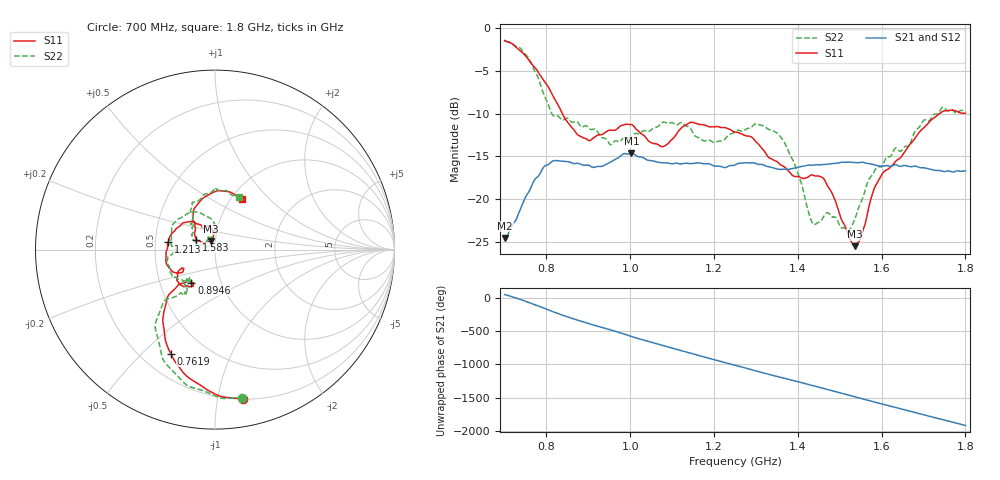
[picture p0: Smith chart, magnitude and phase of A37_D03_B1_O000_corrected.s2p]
! Created with skrf 1.9.0 (http://scikit-rf.org).
# Hz S RI R 50.0
!freq ReS11 ImS11 ReS21 ImS21 ReS12 ImS12 ReS22 ImS22
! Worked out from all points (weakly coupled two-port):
!   1601 points, 700 MHz to 1.8 GHz, reference 50 ohm
!   highest |S21| = -14.61 dB at 1.002 GHz (marker M1); lowest = -24.5 dB at 701.4 MHz (marker M2)
!   lowest |S11| = -25.5 dB at 1.536 GHz (marker M3), VSWR 1.11, Z = 47.5 + j4.57 ohm
!   |S11| at or under -10 dB: 838.1 MHz to 1.738 GHz (900 MHz wide, 69.9 % of centre)
!   |S22| runs from -23.7 to -1.5 dB; largest |S21 - S12| = 0.0034
!   S11 on the Smith chart (normalised r, x): 700 MHz: 0.20, -1.19; 761.9 MHz: 0.32, -0.61; 894.6 MHz: 0.72, -0.28; 1.213 GHz: 0.58, +0.05; 1.583 GHz: 0.81, +0.09; 1.8 GHz: 1.13, +0.70
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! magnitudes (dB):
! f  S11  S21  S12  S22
! 700 MHz  -1.4  -24.5  -24.3  -1.5
! 701.4 MHz  -1.5  -24.5  -24.2  -1.5
! 761.9 MHz  -4.0  -18.7  -18.7  -3.9
! 814.8 MHz  -7.9  -15.5  -15.6  -10.2
! 883.6 MHz  -12.7  -16.0  -15.9  -11.5
! 894.6 MHz  -12.9  -16.0  -16.1  -11.4
! 953 MHz  -11.9  -15.6  -15.6  -13.6
! 1.002 GHz  -11.3  -14.6  -14.7  -12.7
! 1.067 GHz  -13.6  -15.7  -15.6  -11.5
! 1.143 GHz  -11.0  -15.8  -15.8  -11.7
! 1.213 GHz  -11.6  -16.1  -16.1  -13.2
! 1.25 GHz  -12.1  -16.0  -15.9  -12.1
! 1.357 GHz  -15.9  -16.5  -16.5  -12.6
! 1.396 GHz  -17.3  -16.3  -16.3  -16.3
! 1.434 GHz  -17.2  -16.0  -16.0  -22.7
! 1.464 GHz  -17.8  -15.9  -15.9  -21.8
! 1.52 GHz  -24.1  -15.7  -15.7  -23.7
! 1.536 GHz  -25.5  -15.7  -15.7  -22.3
! 1.583 GHz  -18.6  -16.0  -16.0  -16.7
! 1.617 GHz  -16.4  -16.1  -16.1  -15.0
! 1.74 GHz  -9.9  -16.6  -16.7  -9.6
! 1.8 GHz  -10.0  -16.7  -16.7  -9.8
